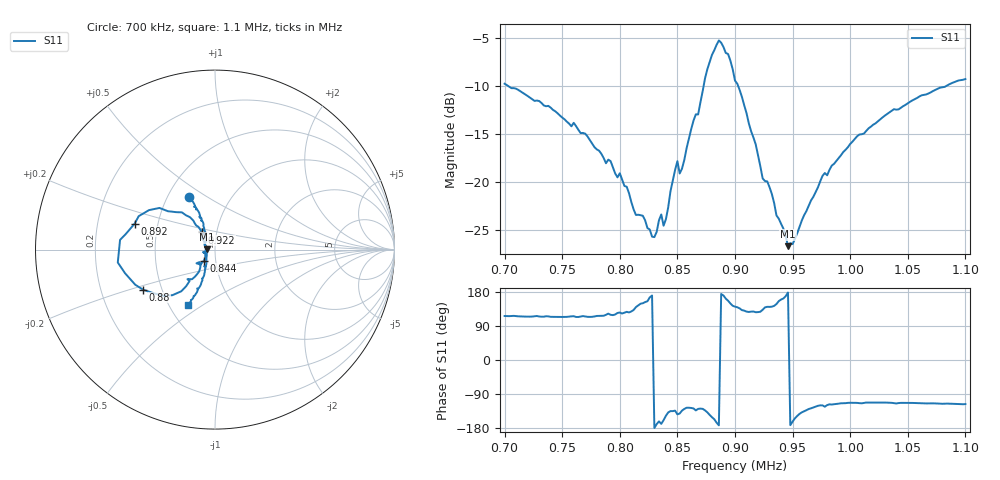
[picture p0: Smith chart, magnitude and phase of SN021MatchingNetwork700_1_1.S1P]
!Agilent Technologies,E5071C,MY46100265,A.07.02
!Date: Mon Jan 27 12:32:34 2020
!Data & Calibration Information:
!Freq	S11:SOLT1(OFF)
# Hz S dB R 50
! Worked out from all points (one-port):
!   201 points, 700 kHz to 1.1 MHz, reference 50 ohm
!   lowest |S11| = -26.7 dB at 946 kHz (marker M1), VSWR 1.10, Z = 45.6 + j0.147 ohm
!   |S11| at or under -10 dB: 703.1 kHz to 872.8 kHz (169.7 kHz wide, 21.5 % of centre); 902.7 kHz to 1.083 MHz (180.6 kHz wide, 18.2 % of centre)
!   S11 on the Smith chart (normalised r, x): 700 kHz: 0.64, +0.42; 844 kHz: 0.87, -0.11; 880 kHz: 0.39, -0.22; 892 kHz: 0.37, +0.14; 922 kHz: 0.85, +0.17; 1.1 MHz: 0.62, -0.43
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700000  -9.76 116.1
750000  -13.28 113.6
800000  -19.09 125.3
814000  -23.44 139.6
820000  -23.53 149.8
828000  -25.71 170.1
836000  -23.39 -168.6
838000  -24.56 -158.8
844000  -20.97 -134.8
850000  -17.83 -143.5
852000  -19.12 -141.2
854000  -18.61 -133.5
870000  -11.69 -128.2
876000  -8.24 -138.1
880000  -6.76 -151.0
886000  -5.25 -172.4
888000  -5.49 174.2
892000  -6.55 162.0
896000  -7.36 149.1
900000  -9.44 140.8
912000  -13.90 126.8
922000  -18.37 127.3
946000  -26.70 178.0
950000  -26.48 -162.5
976000  -19.36 -119.8
1000000  -16.04 -112.9
1050000  -11.80 -112.9
1100000  -9.28 -116.4
